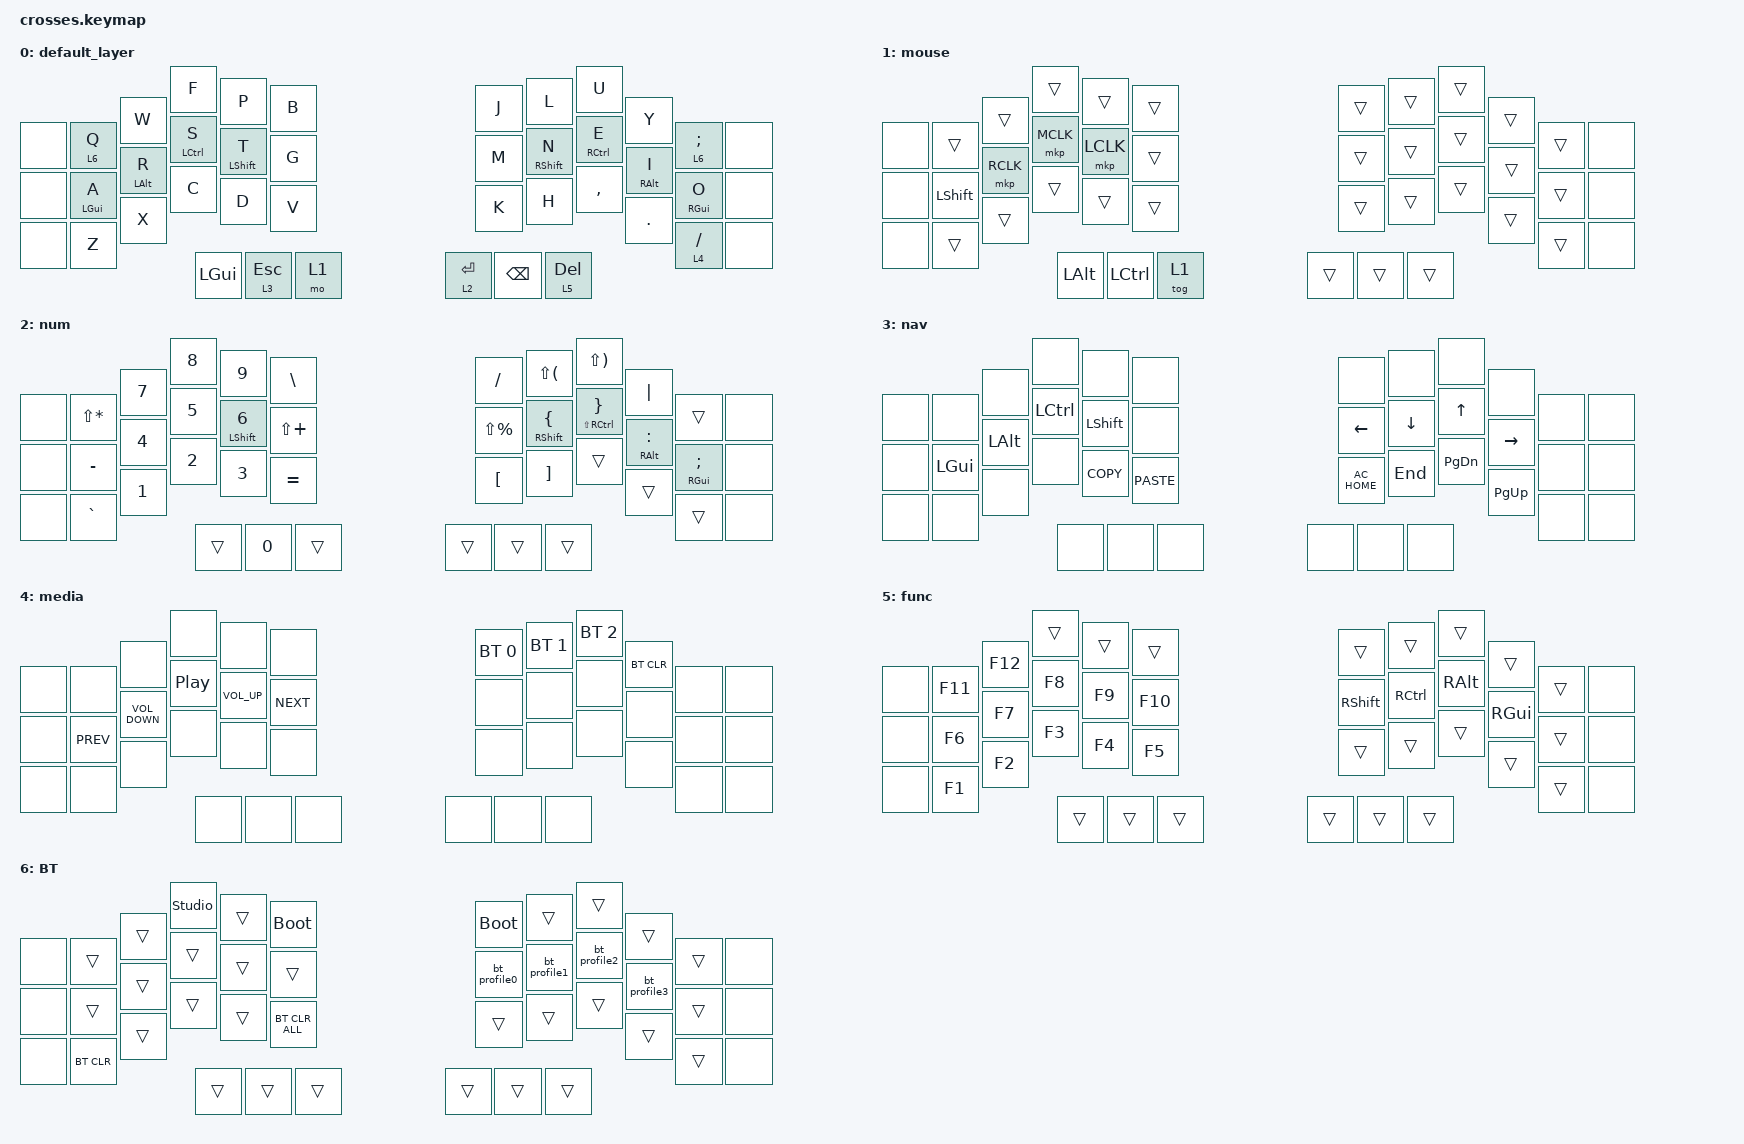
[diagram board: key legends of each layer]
#include <behaviors.dtsi>
#include <dt-bindings/zmk/bt.h>
#include <dt-bindings/zmk/keys.h>
#include <dt-bindings/zmk/outputs.h>
#include <dt-bindings/zmk/pointing.h>

/ {
    behaviors {
        hml: hml {
            compatible = "zmk,behavior-hold-tap";
            label = "HML";
            bindings = <&kp>, <&kp>;

            #binding-cells = <2>;
            tapping-term-ms = <200>;
            quick-tap-ms = <175>;
            require-prior-idle-ms = <150>;
            hold-trigger-on-release;
            hold-trigger-key-positions = <30 31 32 33 34 35 9 19 29 8 9 18 19 28 29 7 17 27 15 5 25 6 16 26>;
            flavor = "balanced";
        };

        hmr: hmr {
            compatible = "zmk,behavior-hold-tap";
            label = "HMR";
            bindings = <&kp>, <&kp>;

            #binding-cells = <2>;
            tapping-term-ms = <200>;
            quick-tap-ms = <175>;
            require-prior-idle-ms = <150>;
            flavor = "balanced";
            hold-trigger-on-release;
            hold-trigger-key-positions = <30 31 32 33 34 35 4 14 24 3 13 23 2 12 22 1 11 21 0 10 20>;
        };
    };

    combos {
        compatible = "zmk,combos";

        s_arr {
            bindings = <&skinny_arrow>;
            key-positions = <13 16>;
        };

        f_arr {
            bindings = <&fat_arrow>;
            key-positions = <14 15>;
        };

        p_ipe {
            bindings = <&pipe>;
            key-positions = <23 26>;
        };

        s_vim {
            bindings = <&save_vim>;
            key-positions = <1 32>;
        };

        caps {
            bindings = <&caps_word>;
            key-positions = <10 19>;
        };

        under {
            bindings = <&kp UNDERSCORE>;
            key-positions = <26 27>;
        };

        min {
            bindings = <&kp MINUS>;
            key-positions = <27 28>;
        };

        r_boot {
            bindings = <&bootloader>;
            key-positions = <9 29 25 5>;
        };

        l_boot {
            bindings = <&bootloader>;
            key-positions = <0 20 4 24>;
        };

        tabby {
            bindings = <&kp TAB>;
            key-positions = <1 8>;
        };

        studio {
            bindings = <&studio_unlock>;
            key-positions = <0 9>;
        };

        s_quote {
            bindings = <&kp SINGLE_QUOTE>;
            key-positions = <2 7>;
        };

        d_quote {
            bindings = <&kp DOUBLE_QUOTES>;
            key-positions = <3 6>;
        };

        spc_macro {
            bindings = <&kp SPACE>;
            key-positions = <32 33>;
        };
    };

    macros {
        skinny_arrow: skinny_arrow {
            compatible = "zmk,behavior-macro";
            #binding-cells = <0>;
            bindings = <&kp MINUS &kp GREATER_THAN>;
            label = "SKINNY_ARROW";
        };

        fat_arrow: fat_arrow {
            compatible = "zmk,behavior-macro";
            #binding-cells = <0>;
            bindings = <&kp EQUAL &kp GREATER_THAN>;
            label = "FAT_ARROW";
        };

        pipe: pipe {
            compatible = "zmk,behavior-macro";
            #binding-cells = <0>;
            bindings = <&kp PIPE &kp GREATER_THAN>;
            label = "PIPE";
        };

        save_vim: save_vim {
            compatible = "zmk,behavior-macro";
            #binding-cells = <0>;
            bindings = <&kp ESCAPE &kp COLON &kp W &kp ENTER>;
            label = "SAVE_VIM";
        };

        bt_profile0: bt_profile0 {
            compatible = "zmk,behavior-macro";
            #binding-cells = <0>;
            bindings = <&out OUT_BLE &bt BT_SEL 0>;
            label = "BT_PROFILE0";
        };

        bt_profile1: bt_profile1 {
            compatible = "zmk,behavior-macro";
            #binding-cells = <0>;
            bindings = <&out OUT_BLE &bt BT_SEL 1>;
            label = "BT_PROFILE1";
        };

        bt_profile2: bt_profile3 {
            compatible = "zmk,behavior-macro";
            #binding-cells = <0>;
            bindings = <&out OUT_BLE &bt BT_SEL 2>;
            label = "BT_PROFILE3";
        };

        bt_profile3: bt_profile4 {
            compatible = "zmk,behavior-macro";
            #binding-cells = <0>;
            bindings = <&out OUT_BLE &bt BT_SEL 3>;
            label = "BT_PROFILE4";
        };
    };

    keymap {
        compatible = "zmk,keymap";

        default_layer {
            bindings = <
&lt 6 Q          &kp W            &kp F         &kp P              &kp B  &none        &kp J               &kp L         &kp U             &kp Y             &lt 6 SEMI           &none
&hml LEFT_GUI A  &hml LEFT_ALT R  &hml LCTRL S  &hml LEFT_SHIFT T  &kp G  &none        &kp M               &hmr RIGHT_SHIFT N  &hmr RCTRL E  &hmr RIGHT_ALT I  &hmr RIGHT_GUI O  &none
&kp Z            &kp X            &kp C         &kp D              &kp V  &none        &kp K               &kp H               &kp COMMA     &kp DOT           &lt 4 SLASH         &none
                                  &kp LEFT_GUI  &lt 3 ESCAPE       &mo 1  &lt 2 ENTER  &kp BACKSPACE       &lt 5 DELETE
            >;
        };

        mouse {
            bindings = <
&trans          &trans     &trans        &trans     &trans  &none   &trans  &trans  &trans  &trans  &trans  &none
&kp LEFT_SHIFT  &mkp RCLK  &mkp MCLK     &mkp LCLK  &trans  &none   &trans  &trans  &trans  &trans  &trans  &none
&trans          &trans     &trans        &trans     &trans  &none   &trans  &trans  &trans  &trans  &trans  &none
                           &kp LEFT_ALT  &kp LCTRL  &tog 1  &trans  &trans  &trans
            >;
        };

        num {
            bindings = <
&kp LS(STAR)  &kp N7  &kp N8  &kp N9              &kp BSLH      &none          &kp FSLH               &kp LS(LPAR)         &kp LS(RPAR)          &kp PIPE              &trans                &none
&kp MINUS     &kp N4  &kp N5  &hml LEFT_SHIFT N6  &kp LS(PLUS)  &none          &kp LS(PRCNT)          &hmr RIGHT_SHIFT LBRC  &hmr LS(RCTRL) RBRC  &hmr RIGHT_ALT COLON  &hmr RIGHT_GUI SEMICOLON  &none
&kp GRAVE     &kp N1  &kp N2  &kp N3              &kp EQUAL     &none          &kp LBKT               &kp RBKT             &trans                &trans                 &trans                 &none
                      &trans  &kp N0              &trans        &trans         &trans                 &trans
            >;
        };

        nav {
            bindings = <
&none     &none     &none      &none       &none        &none  &none           &none           &none          &none          &none  &none
&kp LGUI  &kp LALT  &kp LCTRL  &kp LSHFT   &none        &none  &kp LEFT_ARROW  &kp DOWN_ARROW  &kp UP_ARROW   &kp RIGHT_ARROW  &none  &none
&none     &none     &none      &kp K_COPY  &kp K_PASTE  &none  &kp C_AC_HOME   &kp END         &kp PAGE_DOWN  &kp PAGE_UP     &none  &none
                    &none      &none       &none        &none  &none           &none
            >;
        };

        media {
            bindings = <
&none       &none              &none             &none            &none       &none  &bt BT_SEL 0  &bt BT_SEL 1  &bt BT_SEL 2  &bt BT_CLR       &none  &none
&kp C_PREV  &kp C_VOLUME_DOWN  &kp C_PLAY_PAUSE  &kp C_VOLUME_UP  &kp C_NEXT  &none  &none         &none         &none         &none             &none  &none
&none       &none              &none             &none            &none       &none  &none         &none         &none         &none             &none  &none
                               &none             &none            &none       &none  &none         &none
            >;
        };

        func {
            bindings = <
&kp F11  &kp F12  &trans  &trans  &trans   &none   &trans     &trans     &trans    &trans    &trans  &none
&kp F6   &kp F7   &kp F8  &kp F9  &kp F10  &none   &kp RSHFT  &kp RCTRL  &kp RALT  &kp RGUI  &trans  &none
&kp F1   &kp F2   &kp F3  &kp F4  &kp F5   &none   &trans     &trans     &trans    &trans    &trans  &none
                  &trans  &trans  &trans   &trans  &trans     &trans
            >;
        };

        BT {
            bindings = <
&trans      &trans  &studio_unlock  &trans  &bootloader     &none        &bootloader   &trans        &trans        &trans        &trans  &none
&trans      &trans  &trans          &trans  &trans          &none        &bt_profile0  &bt_profile1  &bt_profile2  &bt_profile3  &trans  &none
&bt BT_CLR  &trans  &trans          &trans  &bt BT_CLR_ALL  &none        &trans        &trans        &trans        &trans        &trans  &none
                    &trans          &trans  &trans          &trans       &trans        &trans
            >;
        };
    };
};
